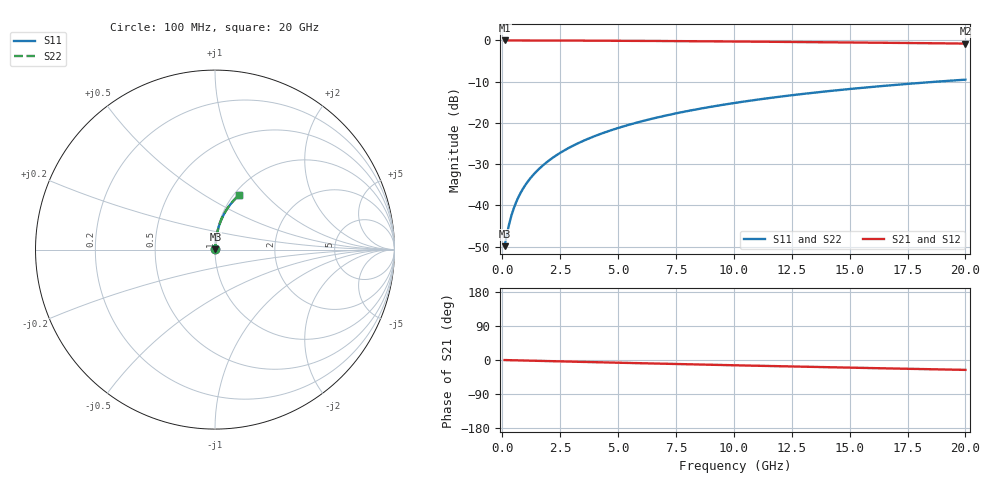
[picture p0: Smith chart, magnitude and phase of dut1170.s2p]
! Touchstone file exported from HFSS 2024.1.0
!  File:  C:/UserFiles/LocalFiles/RDL_TSV_Batchsim/temp_RDL_bottom_1170_1780056828.aedt
!  Generated:  08:16:13 PM May 29, 2026
!  Design:  RDL_bottom
!  Project:  temp_RDL_bottom_1170_1780056828
!  Setup:  Setup1
!  Solution:  Sweep
! Variables:
!  dtsv = 10.80580581um
!  hbump = 3um
!  htsv = 89.66um
!  ldown = 272.52um
!  lrdl = 100um
!  p = 40
!  p1 = 57.55um
!  rhole = 1um
!  t = 450um
!  tdown = 2.84um
!  trdl = 3.915915916um
!  wdown = 13.78um
!  wrdl = 20um
# GHz S MA R 50.000000
! Terminal data exported
! Port[1] = RDL1_T1
! Port[2] = RDL1_T2
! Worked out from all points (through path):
!   200 points, 100 MHz to 20 GHz, reference 50 ohm
!   highest |S21| = -0.02 dB at 100 MHz (marker M1); lowest = -0.8 dB at 20 GHz (marker M2)
!   group delay of S21, straight-line fit = 3.62 ps
!   lowest |S11| = -49.9 dB at 100 MHz (marker M3), VSWR 1.01, Z = 50.3 + j0.18 ohm
!   |S11| at or under -10 dB: start of sweep to 18.79 GHz
!   |S22| runs from -49.9 to -9.5 dB; largest |S21 - S12| = 2.6e-15
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0.1  0.003202 33.9  0.9973 -0.1  0.9973 -0.1  0.003202 33.9
! Gamma 0 0 0 0
! Port Impedance 50 0 50 0
0.2  0.004467 52.9  0.9973 -0.3  0.9973 -0.3  0.004467 52.9
0.3  0.005997 62.7  0.9972 -0.4  0.9972 -0.4  0.005997 62.7
0.4  0.007621 68.3  0.9972 -0.6  0.9972 -0.6  0.007621 68.3
0.5  0.009283 71.9  0.9971 -0.7  0.9971 -0.7  0.009283 71.9
0.6  0.01096 74.3  0.997 -0.9  0.997 -0.9  0.01096 74.3
0.8  0.01433 77.4  0.9968 -1.2  0.9968 -1.2  0.01433 77.4
1.1  0.0194 80.0  0.9966 -1.6  0.9966 -1.6  0.0194 80.0
1.5  0.0262 81.8  0.9961 -2.2  0.9961 -2.2  0.0262 81.8
1.8  0.03131 82.6  0.9958 -2.6  0.9958 -2.6  0.03131 82.6
2.1  0.03645 83.1  0.9953 -3.1  0.9953 -3.1  0.03645 83.1
2.7  0.04675 83.5  0.9943 -3.9  0.9943 -3.9  0.04675 83.5
3.5  0.06057 83.6  0.9927 -5.1  0.9927 -5.1  0.06057 83.6
4.2  0.07271 83.3  0.9909 -6.0  0.9909 -6.0  0.07271 83.3
5  0.08665 82.9  0.9886 -7.2  0.9886 -7.2  0.08665 82.9
5.9  0.1024 82.2  0.9857 -8.4  0.9857 -8.4  0.1024 82.2
6.8  0.1181 81.3  0.9825 -9.6  0.9825 -9.6  0.1181 81.3
8.3  0.1443 79.8  0.9765 -11.7  0.9765 -11.7  0.1443 79.8
10.1  0.1755 77.8  0.9685 -14.0  0.9685 -14.0  0.1755 77.8
13.4  0.2312 73.8  0.952 -18.2  0.952 -18.2  0.2312 73.8
16.7  0.2843 69.9  0.9339 -22.2  0.9339 -22.2  0.2843 69.9
20  0.3341 66.0  0.9143 -26.1  0.9143 -26.1  0.3341 66.0
